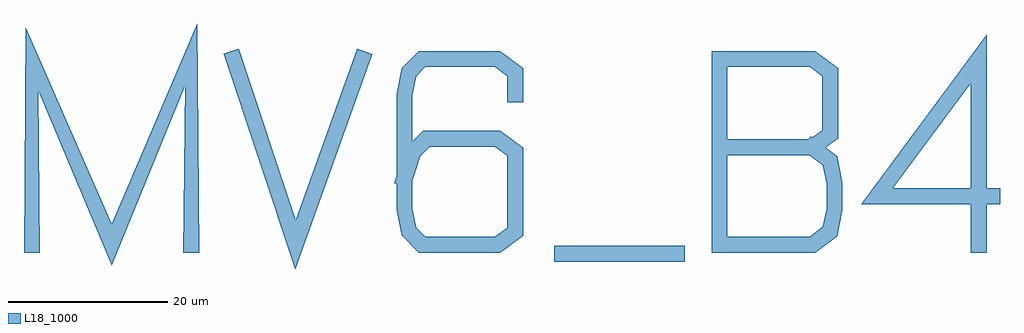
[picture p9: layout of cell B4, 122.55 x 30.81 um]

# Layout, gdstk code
import gdstk
lib = gdstk.Library(unit=1e-6, precision=1e-09)
L18_1000 = (18, 1000)

c_b4 = lib.new_cell('B4')
c_b4.add(gdstk.FlexPath([(-480.012,-306.995),(-480.012,-283.662),(-470.012,-306.995),(-460.012,-283.107),(-460.012,-306.995)], 2, ends="extended", simple_path=True, layer=18, datatype=1000))  # L18_1000
c_b4.add(gdstk.FlexPath([(-454.679,-283.662),(-446.902,-306.995),(-438.568,-283.662)], 2, ends="extended", simple_path=True, layer=18, datatype=1000))  # L18_1000
c_b4.add(gdstk.FlexPath([(-419.347,-288.107),(-419.347,-285.329),(-421.569,-283.662),(-431.013,-283.662),(-432.68,-285.329),(-433.235,-288.107),(-433.235,-302.551),(-432.68,-305.329),(-431.013,-306.995),(-421.569,-306.995),(-419.347,-305.329),(-419.347,-295.329),(-421.569,-293.662),(-430.458,-293.662),(-432.124,-295.329),(-433.235,-298.662)], 2, ends="extended", simple_path=True, layer=18, datatype=1000))  # L18_1000
c_b4.add(gdstk.FlexPath([(-413.458,-308.106),(-399.014,-308.106)], 2, ends="extended", simple_path=True, layer=18, datatype=1000))  # L18_1000
c_b4.add(gdstk.FlexPath([(-393.681,-306.995),(-393.681,-283.662),(-382.015,-283.662),(-379.793,-285.329),(-379.793,-287.551),(-379.793,-290.884),(-379.793,-293.107),(-382.015,-294.773),(-393.681,-294.773)], 2, ends="extended", simple_path=True, layer=18, datatype=1000))  # L18_1000
c_b4.add(gdstk.FlexPath([(-382.015,-294.773),(-379.793,-296.44),(-379.237,-299.218),(-379.237,-302.551),(-379.793,-305.329),(-382.015,-306.995),(-393.681,-306.995)], 2, ends="extended", simple_path=True, layer=18, datatype=1000))  # L18_1000
c_b4.add(gdstk.FlexPath([(-359.46,-300.884),(-373.904,-300.884),(-361.127,-283.662),(-361.127,-306.995)], 2, ends="extended", simple_path=True, layer=18, datatype=1000))  # L18_1000

lib.write_gds('B4.gds')
